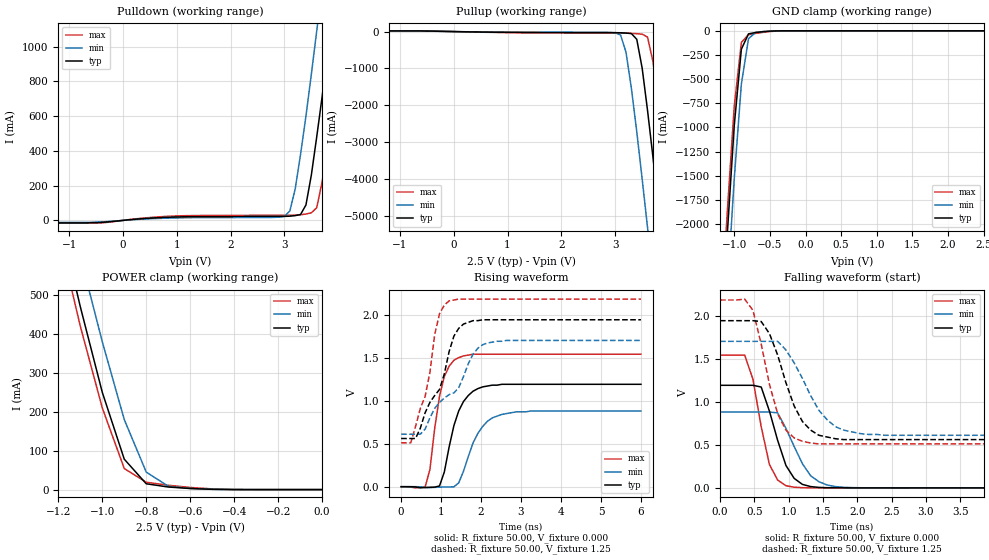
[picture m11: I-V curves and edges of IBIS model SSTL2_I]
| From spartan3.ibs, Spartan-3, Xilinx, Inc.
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|   Model SSTL2_I
[Model]   SSTL2_I
Model_type   I/O
Polarity   Non-Inverting
Enable   Active-Low
Vinl =   1.07V
Vinh =   1.43V
Vmeas =   1.25V
Cref =  0.000F
Rref =  50.00
Vref =   1.25V
C_comp   6.38pF   4.60pF   8.23pF
[Temperature Range]   25.00   85.00   0.000
[Voltage Range]   2.50V   2.30V   2.70V
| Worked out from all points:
|   slope of the pulldown table from 0 to 0.375 V, typ, clamps not added: 36.7 ohm
|   slope of the pullup table from 0 to 0.375 V, typ, clamps not added: 38.4 ohm
|   GND clamp passes 1 mA (typ) near -0.41 V on its own axis
|   POWER clamp passes 1 mA (typ) near -0.52 V on its own axis
|   rising waveform, R_fixture 50.00, V_fixture 0.000: 20-80 % time 410ps typ, 492ps min, 308ps max; typ from 0 V to 1.19 V
|   rising waveform, R_fixture 50.00, V_fixture 1.25: 20-80 % time 679ps typ, 986ps min, 436ps max; typ from 0.56 V to 1.94 V
|   falling waveform, R_fixture 50.00, V_fixture 0.000: 20-80 % time 284ps typ, 338ps min, 224ps max; typ from 1.19 V to 0 V
|   falling waveform, R_fixture 50.00, V_fixture 1.25: 20-80 % time 376ps typ, 464ps min, 304ps max; typ from 1.94 V to 0.56 V
[Pulldown]
| voltage   I(typ)   I(min)   I(max)
-2.5V     -14.28mA   -11.39mA   -15.78mA
3V        23.11mA    23.31mA    29.59mA
3.1V      24.34mA    53.63mA    29.72mA
3.2V      27.36mA    180mA      30.28mA
3.4V      88.65mA    600mA      36.92mA
3.5V      260mA      840mA      43.64mA
3.6V      480mA      1.09A      72.81mA
3.7V      710mA      1.34A      220mA
3.8V      960mA      1.59A      430mA
4V        1.46A      2.1A       910mA
4.2V      1.98A      2.61A      1.41A
5V        4.06A      4.7A       3.49A
[Pullup]
| voltage   I(typ)   I(min)   I(max)
-2.5V     18.36mA    14.02mA    21.24mA
3.1V      -33.43mA   -94.74mA   -41.67mA
3.2V      -40.22mA   -560mA     -43.76mA
3.3V      -53.47mA   -1.54A     -49.52mA
3.4V      -210mA     -2.72A     -58.35mA
3.5V      -990mA     -4A        -70.27mA
3.6V      -2.14A     -5.32A     -150mA
3.7V      -3.4A      -6.67A     -810mA
3.8V      -4.73A     -8.03A     -1.92A
4V        -7.46A     -10.8A     -4.5A
4.2V      -10.23A    -13.59A    -7.23A
5V        -21.55A    -24.92A    -18.5A
[GND_clamp]
| voltage   I(typ)   I(min)   I(max)
-2.5V     -21.55A    -22.07A    -21.35A
-1.2V     -3.4A      -4A        -3.16A
-1.1V     -2.13A     -2.72A     -1.9A
-1V       -980mA     -1.53A     -780mA
-900mV    -190mA     -550mA     -120mA
-800mV    -31.52mA   -80.93mA   -39.99mA
-700mV    -17.33mA   -16.67mA   -26.93mA
-500mV    -3.49mA    -3.12mA    -7.64mA
-300mV    -45.54uA   -82.37uA   -200uA
2.5V      3.51nA     1.08uA     16.83nA
[POWER_clamp]
| voltage   I(typ)   I(min)   I(max)
-2.5V     4.06A      4.18A      4.02A
-1.2V     710mA      840mA      660mA
-1.1V     470mA      600mA      420mA
-1V       250mA      380mA      210mA
-900mV    78.2mA     180mA      54.13mA
-800mV    14.96mA    44.93mA    18.92mA
-700mV    6.69mA     8.78mA     11.2mA
-600mV    2.8mA      2.96mA     5.54mA
-400mV    81.59uA    140uA      290uA
0V        3.51nA     21.77nA    20.98nA
[Ramp]
| variable   typ   min   max
dV/dt_r   0.71/0.40n   0.53/0.48n   0.92/0.30n
dV/dt_f   0.65/0.48n   0.48/0.52n   0.83/0.43n
R_load = 50.00
[Rising Waveform]
R_fixture = 50.00
V_fixture = 0.000
| time   V(typ)   V(min)   V(max)
0s        0V         520nV      0V
600ps     -10.05mV   -9.09mV    -3.45mV
720ps     -6.98mV    -10.47mV   200mV
960ps     8.89mV     -5.36mV    1.05V
1.08ns    170mV      -3.71mV    1.28V
1.32ns    710mV      -1.22mV    1.47V
1.68ns    1.06V      350mV      1.53V
1.92ns    1.14V      620mV      1.54V
2.28ns    1.18V      800mV      1.54V
6ns       1.19V      880mV      1.54V
[Rising Waveform]
R_fixture = 50.00
V_fixture = 1.25
V_fixture_min = 1.15
V_fixture_max = 1.35
| time   V(typ)   V(min)   V(max)
0s        560mV      610mV      510mV
240ps     560mV      610mV      510mV
360ps     560mV      610mV      700mV
600ps     860mV      670mV      1.05V
960ps     1.13V      980mV      2.01V
1.2ns     1.57V      1.07V      2.16V
1.56ns    1.89V      1.28V      2.18V
1.8ns     1.93V      1.54V      2.18V
2.16ns    1.94V      1.67V      2.18V
6ns       1.94V      1.7V       2.18V
[Falling Waveform]
R_fixture = 50.00
V_fixture = 0.000
| time   V(typ)   V(min)   V(max)
0s        1.19V      880mV      1.54V
360ps     1.19V      880mV      1.54V
480ps     1.19V      880mV      1.26V
600ps     1.17V      880mV      710mV
720ps     890mV      880mV      270mV
840ps     550mV      870mV      90.21mV
960ps     260mV      690mV      24.91mV
1.32ns    14.98mV    140mV      460uV
1.68ns    590uV      14.73mV    -3.49uV
6ns       0V         1.16uV     870nV
[Falling Waveform]
R_fixture = 50.00
V_fixture = 1.25
V_fixture_min = 1.15
V_fixture_max = 1.35
| time   V(typ)   V(min)   V(max)
0s        1.94V      1.7V       2.18V
360ps     1.94V      1.7V       2.19V
480ps     1.94V      1.7V       2.06V
600ps     1.93V      1.7V       1.67V
840ps     1.54V      1.7V       860mV
960ps     1.22V      1.6V       670mV
1.2ns     770mV      1.27V      540mV
1.56ns    590mV      790mV      510mV
2.04ns    560mV      630mV      510mV
6ns       560mV      610mV      510mV
